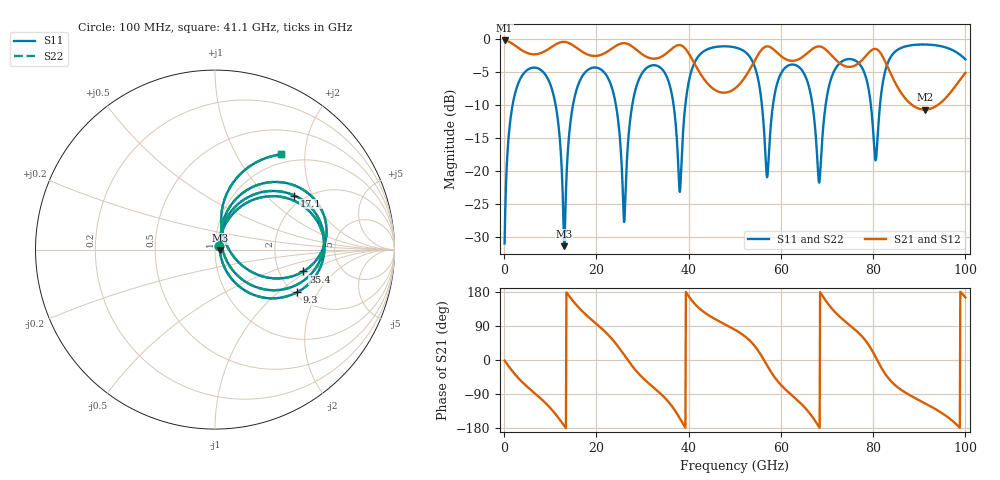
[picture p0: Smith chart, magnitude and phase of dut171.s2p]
! Touchstone file exported from HFSS 2026.1.0
!  File:  C:/ffzhzh/LocalFiles/Ansys_Project_Files/temp_train_TSV_RDL_171_1783650753_33328.aedt
!  Generated:  10:53:15 AM Jul 10, 2026
!  Design:  TSV_RDL
!  Project:  temp_train_TSV_RDL_171_1783650753_33328
! Variables:
!  h_bsmrdl = 4.64um
!  h_ox = 20um
!  h_rdl = 5um
!  h_sub = 98.99um
!  h_tmrdl = 3.79um
!  h_tsv = 98.99um
!  h_via = 3um
!  l_bsmrdl = 427.58um
!  l_sub = 4279.95um
!  l_tmrdl = 620.51um
!  m_sub = 200um
!  pitch = 59.02um
!  r_tsv = 8.62um
!  s_tmrdl = 10um
!  w_bsmrdl = 22.57um
!  w_sub = 500um
!  w_tmrdl = 15.82um
!  x_tsv_center1 = 628.42um
!  x_tsv_center2 = 1078.57um
!  x_tsv_center3 = 1714.9um
!  x_tsv_center4 = 2165.05um
!  x_tsv_center5 = 2801.38um
!  x_tsv_center6 = 3251.53um
# GHz S MA R 50.000000
! Terminal data exported
! Port[1] = TM_RDL1_1_T1
! Port[2] = TM_RDL5_1_T1
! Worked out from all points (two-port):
!   1000 points, 100 MHz to 100 GHz, reference 50 ohm
!   highest |S21| = -0.18 dB at 100 MHz (marker M1); lowest = -10.6 dB at 91.2 GHz (marker M2)
!   |S21| within 3 dB of the highest: start of sweep to 40.87 GHz; 63.3 GHz to 72.02 GHz (8.72 GHz wide, 12.9 % of centre) (the widest 2 of 4)
!   lowest |S11| = -31.3 dB at 13 GHz (marker M3), VSWR 1.06, Z = 52.8 - j0.447 ohm
!   |S11| at or under -10 dB: 11.17 GHz to 14.91 GHz (3.741 GHz wide, 28.7 % of centre); 24.24 GHz to 27.76 GHz (3.518 GHz wide, 13.5 % of centre); 66.86 GHz to 69.69 GHz (2.826 GHz wide, 4.14 % of centre) (the widest 3 of 7)
!   |S22| runs from -31.3 to -0.8 dB; largest |S21 - S12| = 7.5e-14
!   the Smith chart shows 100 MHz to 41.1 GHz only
!   S11 on the Smith chart (normalised r, x): 100 MHz: 1.04, +0.04; 9.3 GHz: 2.09, -1.35; 17.1 GHz: 1.78, +1.50; 35.4 GHz: 2.72, -0.89; 41.1 GHz: 0.86, +1.56
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0.1  0.02846 42.7  0.9795 -1.8  0.9795 -1.8  0.02846 42.7
! Gamma 0 0 0 0
! Port Impedance 50 0 50 0
2.7  0.4274 44.1  0.8796 -42.6  0.8796 -42.6  0.4274 44.1
9.3  0.5152 -27.6  0.8298 -117.6  0.8298 -117.6  0.5152 -27.5
13  0.02713 -9.0  0.9557 -173.1  0.9557 -173.1  0.02727 -8.9
16.8  0.5152 37.6  0.8102 130.4  0.8102 130.4  0.5153 37.6
17.1  0.5355 34.2  0.7981 126.8  0.7981 126.8  0.5356 34.2
23.1  0.457 -28.3  0.8381 59.4  0.8381 59.4  0.457 -28.3
26.2  0.05374 49.3  0.9329 10.1  0.9329 10.1  0.0537 49.2
33.4  0.6249 7.0  0.7209 -83.2  0.7209 -83.2  0.6248 7.0
35.4  0.5065 -13.9  0.7933 -107.2  0.7933 -107.2  0.5064 -13.9
38.1  0.06986 26.9  0.9037 -154.1  0.9037 -154.1  0.06947 26.9
41.1  0.6448 55.3  0.6709 151.1  0.6709 151.1  0.6447 55.3
50.1  0.867 -9.6  0.4257 79.5  0.4257 79.5  0.8669 -9.6
56.9  0.09501 -29.9  0.883 -12.0  0.883 -12.0  0.09553 -29.8
60.6  0.5915 13.1  0.7217 -73.2  0.7217 -73.2  0.5916 13.1
66.7  0.3441 -46.9  0.838 -148.0  0.838 -148.0  0.3439 -47.1
68.3  0.08211 2.4  0.8831 -177.1  0.8831 -177.1  0.08084 2.5
76.6  0.6724 -12.9  0.6489 74.4  0.6489 74.4  0.6724 -12.8
80.5  0.1212 0.4  0.8457 8.7  0.8457 8.7  0.1231 0.6
83.4  0.6909 31.7  0.59 -49.3  0.59 -49.3  0.6912 31.7
91.2  0.9129 -24.0  0.2936 -114.1  0.2936 -114.1  0.913 -24.0
100  0.7041 -99.3  0.5561 165.2  0.5561 165.2  0.704 -99.5
